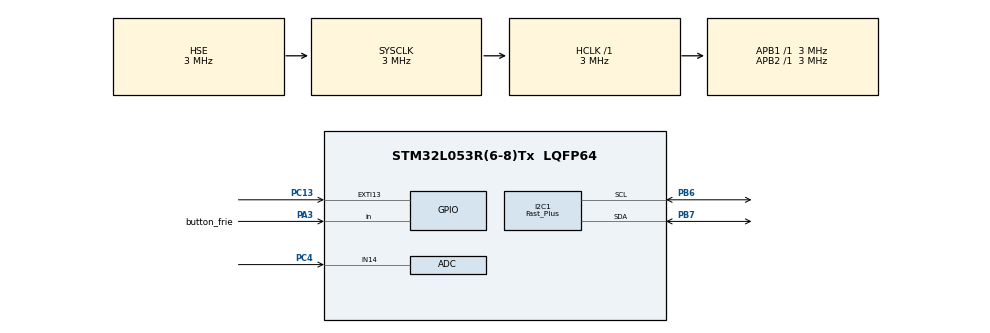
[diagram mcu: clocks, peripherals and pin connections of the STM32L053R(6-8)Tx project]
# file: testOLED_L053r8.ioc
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ADC.ClockPrescaler=ADC_CLOCK_ASYNC_DIV64
ADC.ContinuousConvMode=ENABLE
ADC.DMAContinuousRequests=DISABLE
ADC.SamplingTime=ADC_SAMPLETIME_160CYCLES_5
I2C1.I2C_Speed_Mode=I2C_Fast_Plus
I2C1.Timing=0x00000000
Mcu.Family=STM32L0
Mcu.Name=STM32L053R(6-8)Tx
Mcu.Package=LQFP64
NVIC.ADC1_COMP_IRQn=true\:1\:0\:true\:false\:true\:true\:true\:true
NVIC.EXTI4_15_IRQn=true\:0\:0\:false\:false\:true\:true\:true\:true
PA13.GPIO_Label=TMS
PA13.Mode=Serial_Wire
PA13.Signal=SYS_SWDIO
PA14.GPIO_Label=TCK
PA14.Mode=Serial_Wire
PA14.Signal=SYS_SWCLK
PA2.GPIO_Label=USART_TX
PA2.Signal=USART2_TX
PA3.GPIO_Label=button_frie
PA3.GPIO_PuPd=GPIO_PULLUP
PA3.Signal=GPIO_Input
PB6.Mode=I2C
PB6.Signal=I2C1_SCL
PB7.Mode=I2C
PB7.Signal=I2C1_SDA
PC13.GPIO_ModeDefaultEXTI=GPIO_MODE_IT_FALLING
PC13.Signal=GPXTI13
PC14-OSC32_IN.Signal=RCC_OSC32_IN
PC15-OSC32_OUT.Signal=RCC_OSC32_OUT
PC4.Mode=IN14
PC4.Signal=ADC_IN14
PH0-OSC_IN.Mode=HSE-External-Clock-Source
PH0-OSC_IN.Signal=RCC_OSC_IN
PH1-OSC_OUT.Signal=RCC_OSC_OUT
ProjectManager.HeapSize=0x200
ProjectManager.StackSize=0x400
ProjectManager.TargetToolchain=STM32CubeIDE
RCC.ADCFreq_Value=16000000
RCC.AHBFreq_Value=3000000
RCC.APB1Freq_Value=3000000
RCC.APB1TimFreq_Value=3000000
RCC.APB2Freq_Value=3000000
RCC.APB2TimFreq_Value=3000000
RCC.HCLKFreq_Value=3000000
RCC.HSE_VALUE=3000000
RCC.HSI16_VALUE=16000000
RCC.HSI48_VALUE=48000000
RCC.HSI_VALUE=16000000
RCC.I2c1ClockSelection=RCC_I2C1CLKSOURCE_SYSCLK
RCC.LSE_VALUE=32768
RCC.MSIClockRange=RCC_MSIRANGE_6
RCC.MSI_VALUE=4194000
RCC.SYSCLKFreq_VALUE=3000000
RCC.SYSCLKSource=RCC_SYSCLKSOURCE_HSE
RCC.Usart2ClockSelection=RCC_USART2CLKSOURCE_SYSCLK
RCC.VCOOutputFreq_Value=48000000
board=NUCLEO-L053R8

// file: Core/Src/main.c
/* USER CODE BEGIN Header */
/**
  ******************************************************************************
  * @file           : main.c
  * @brief          : Main program body
  ******************************************************************************
  * @attention
  *
  * Copyright (c) 2023 STMicroelectronics.
  * All rights reserved.
  *
  * This software is licensed under terms that can be found in the LICENSE file
  * in the root directory of this software component.
  * If no LICENSE file comes with this software, it is provided AS-IS.
  *
  ******************************************************************************
  */
/* USER CODE END Header */
#include "main.h"

/* USER CODE BEGIN Includes */
#include "ssd1306.h"
#include "sprite.h"

/* USER CODE END Includes */

/* USER CODE BEGIN PD */
#define ENEMY_SPEED_DIVIDE (uint8_t)10//hệ số chia tốc độ di chuyển của enemy

/* USER CODE END PD */

ADC_HandleTypeDef hadc;

I2C_HandleTypeDef hi2c1;

/* USER CODE BEGIN PV */
volatile uint32_t semaphore = 0;		//kiểm soát luồng cập nhật màn hình
uint8_t enemy_move = 0;					//kiểm soát di chuyển kể địch
volatile uint8_t enemy_move_speed = 0;
volatile uint32_t adc_value = 0;
uint32_t gCounter = 0x00;
/* USER CODE END PV */

void SystemClock_Config(void);
static void MX_GPIO_Init(void);
static void MX_I2C1_Init(void);
static void MX_ADC_Init(void);
/* USER CODE BEGIN PFP */

//void systick_init(uint32_t ticks){
//	__disable_irq();
//	SysTick->CTRL = 0;
//	SysTick->LOAD = ticks - 1;
//	SysTick->VAL = 0;
//	NVIC_SetPriority(SysTick_IRQn,(1<<__NVIC_PRIO_BITS)-1);
//	SysTick->CTRL = 0x07;
//	__enable_irq();
//}

uint32_t MAP(uint32_t au32_IN, uint32_t au32_INmin, uint32_t au32_INmax, uint32_t au32_OUTmin, uint32_t au32_OUTmax){
	return ((((au32_IN - au32_INmin) * (au32_OUTmax - au32_OUTmin)) / (au32_INmax - au32_INmin)) + au32_OUTmin);
} //chuyển đổi giá trị ADC về giới hạn chiều ngang OLED

void HAL_SYSTICK_Callback(void){
	//địch rải tên lửa theo chu kỳ ngắt của systick
    if (!(gCounter % 10))
    {
        Sprite_Enemy_Missle_Launch();
    }
    if (Sprite_GetPlayerMissileLaunchFlag() == 1)
    {
        Sprite_ClearPlayerMissileLaunchFlag();
        Sprite_Player_Missle_Launch();
    }
	//tùy chỉnh cho tốc độ di chuyển kẻ địch
	if (enemy_move_speed == ENEMY_SPEED_DIVIDE) {
		if (enemy_move == 0) {
			enemy_move = 1;
			Sprite_Enemy_Move();
		}
		enemy_move_speed = 0;//reset vòng đếm cho tốc độ di chuyển kẻ địch
	}
		enemy_move_speed++;
		Sprite_Missle_Move();
		Sprite_Player_Move(adc_value);
	  //turn on semaphore
	  semaphore = 1;
	  gCounter++;
}

void HAL_GPIO_EXTI_Callback(uint16_t GPIO_Pin)
{
  /* Prevent unused argument(s) compilation warning */
  UNUSED(GPIO_Pin);
  Sprite_SetPlayerMissileLaunchFlag();
}

void HAL_ADC_ConvCpltCallback(ADC_HandleTypeDef *hadc){
	adc_value = MAP(HAL_ADC_GetValue(hadc), 0, 4095, 0, 112);
}

void initRandomSeed() {
    // Sử dụng thời gian hệ thống làm seed
    // Bạn có thể sử dụng bất kỳ timer nào trên STM32 để lấy thời gian thay thế
    uint32_t seed = HAL_GetTick();  // Lấy giá trị thời gian hệ thống

    // Khởi tạo seed cho generator
    srand(seed);
}
/* USER CODE END PFP */

int main(void)
{

  /* USER CODE BEGIN 1 */
	char winText[]="YOU WIN";
  /* USER CODE END 1 */

  /* MCU Configuration--------------------------------------------------------*/

  /* Reset of all peripherals, Initializes the Flash interface and the Systick. */
  HAL_Init();

  /* Configure the system clock */
  SystemClock_Config();

  /* USER CODE BEGIN SysInit */
  SystemCoreClockUpdate();

  /* USER CODE END SysInit */

  /* Initialize all configured peripherals */
  MX_GPIO_Init();
  MX_I2C1_Init();
  MX_ADC_Init();
  /* USER CODE BEGIN 2 */
  ssd1306_Init();
  Sprite_Init();
  //cấu hình lấy mẫu ADC bằng ngắt
  HAL_ADC_Start_IT(&hadc);
  HAL_SYSTICK_Config(SystemCoreClock/6);// cấu hình lại tần số cho systick

  /* USER CODE END 2 */

  /* Infinite loop */
  /* USER CODE BEGIN WHILE */

  while (1)
  {
	if (semaphore == 1) {
		//vẽ kẻ địch
		if (enemy_move == 1) {
			Sprite_Enemy_Draw();
			enemy_move = 0;
		}
		//vẽ tàu người chơi
		Sprite_Missle_Draw();
		Sprite_Player_Draw();
		//cập nhật màn hình
		ssd1306_UpdateScreen();
		//reset semaphore
		semaphore = 0;
	}
	if(check_WIN_GAME()==1) break;//hết game thì thoát vòng lặp
    /* USER CODE END WHILE */

    /* USER CODE BEGIN 3 */
  }
  ssd1306_Fill(Black);
  ssd1306_SetCursor(24, 24);
  ssd1306_WriteString(winText, Font_11x18, White);
  ssd1306_UpdateScreen();
  /* USER CODE END 3 */
}

void SystemClock_Config(void)
{
  RCC_OscInitTypeDef RCC_OscInitStruct = {0};
  RCC_ClkInitTypeDef RCC_ClkInitStruct = {0};
  RCC_PeriphCLKInitTypeDef PeriphClkInit = {0};

  /** Configure the main internal regulator output voltage
  */
  __HAL_PWR_VOLTAGESCALING_CONFIG(PWR_REGULATOR_VOLTAGE_SCALE1);

  /** Initializes the RCC Oscillators according to the specified parameters
  * in the RCC_OscInitTypeDef structure.
  */
  RCC_OscInitStruct.OscillatorType = RCC_OSCILLATORTYPE_HSI|RCC_OSCILLATORTYPE_HSE;
  RCC_OscInitStruct.HSEState = RCC_HSE_BYPASS;
  RCC_OscInitStruct.HSIState = RCC_HSI_ON;
  RCC_OscInitStruct.HSICalibrationValue = RCC_HSICALIBRATION_DEFAULT;
  RCC_OscInitStruct.PLL.PLLState = RCC_PLL_NONE;
  if (HAL_RCC_OscConfig(&RCC_OscInitStruct) != HAL_OK)
  {
    Error_Handler();
  }

  /** Initializes the CPU, AHB and APB buses clocks
  */
  RCC_ClkInitStruct.ClockType = RCC_CLOCKTYPE_HCLK|RCC_CLOCKTYPE_SYSCLK
                              |RCC_CLOCKTYPE_PCLK1|RCC_CLOCKTYPE_PCLK2;
  RCC_ClkInitStruct.SYSCLKSource = RCC_SYSCLKSOURCE_HSE;
  RCC_ClkInitStruct.AHBCLKDivider = RCC_SYSCLK_DIV1;
  RCC_ClkInitStruct.APB1CLKDivider = RCC_HCLK_DIV1;
  RCC_ClkInitStruct.APB2CLKDivider = RCC_HCLK_DIV1;

  if (HAL_RCC_ClockConfig(&RCC_ClkInitStruct, FLASH_LATENCY_0) != HAL_OK)
  {
    Error_Handler();
  }
  PeriphClkInit.PeriphClockSelection = RCC_PERIPHCLK_I2C1;
  PeriphClkInit.I2c1ClockSelection = RCC_I2C1CLKSOURCE_SYSCLK;
  if (HAL_RCCEx_PeriphCLKConfig(&PeriphClkInit) != HAL_OK)
  {
    Error_Handler();
  }
}

static void MX_ADC_Init(void)
{

  ADC_ChannelConfTypeDef sConfig = {0};

  /** Configure the global features of the ADC (Clock, Resolution, Data Alignment and number of conversion)
  */
  hadc.Instance = ADC1;
  hadc.Init.OversamplingMode = DISABLE;
  hadc.Init.ClockPrescaler = ADC_CLOCK_ASYNC_DIV64;
  hadc.Init.Resolution = ADC_RESOLUTION_12B;
  hadc.Init.SamplingTime = ADC_SAMPLETIME_160CYCLES_5;
  hadc.Init.ScanConvMode = ADC_SCAN_DIRECTION_FORWARD;
  hadc.Init.DataAlign = ADC_DATAALIGN_RIGHT;
  hadc.Init.ContinuousConvMode = ENABLE;
  hadc.Init.DiscontinuousConvMode = DISABLE;
  hadc.Init.ExternalTrigConvEdge = ADC_EXTERNALTRIGCONVEDGE_NONE;
  hadc.Init.ExternalTrigConv = ADC_SOFTWARE_START;
  hadc.Init.DMAContinuousRequests = DISABLE;
  hadc.Init.EOCSelection = ADC_EOC_SINGLE_CONV;
  hadc.Init.Overrun = ADC_OVR_DATA_PRESERVED;
  hadc.Init.LowPowerAutoWait = DISABLE;
  hadc.Init.LowPowerFrequencyMode = ENABLE;
  hadc.Init.LowPowerAutoPowerOff = DISABLE;
  if (HAL_ADC_Init(&hadc) != HAL_OK)
  {
    Error_Handler();
  }

  /** Configure for the selected ADC regular channel to be converted.
  */
  sConfig.Channel = ADC_CHANNEL_14;
  sConfig.Rank = ADC_RANK_CHANNEL_NUMBER;
  if (HAL_ADC_ConfigChannel(&hadc, &sConfig) != HAL_OK)
  {
    Error_Handler();
  }

}

static void MX_I2C1_Init(void)
{

  hi2c1.Instance = I2C1;
  hi2c1.Init.Timing = 0x00000000;
  hi2c1.Init.OwnAddress1 = 0;
  hi2c1.Init.AddressingMode = I2C_ADDRESSINGMODE_7BIT;
  hi2c1.Init.DualAddressMode = I2C_DUALADDRESS_DISABLE;
  hi2c1.Init.OwnAddress2 = 0;
  hi2c1.Init.OwnAddress2Masks = I2C_OA2_NOMASK;
  hi2c1.Init.GeneralCallMode = I2C_GENERALCALL_DISABLE;
  hi2c1.Init.NoStretchMode = I2C_NOSTRETCH_DISABLE;
  if (HAL_I2C_Init(&hi2c1) != HAL_OK)
  {
    Error_Handler();
  }

  /** Configure Analogue filter
  */
  if (HAL_I2CEx_ConfigAnalogFilter(&hi2c1, I2C_ANALOGFILTER_ENABLE) != HAL_OK)
  {
    Error_Handler();
  }

  /** Configure Digital filter
  */
  if (HAL_I2CEx_ConfigDigitalFilter(&hi2c1, 0) != HAL_OK)
  {
    Error_Handler();
  }

  /** I2C Fast mode Plus enable
  */
  HAL_I2CEx_EnableFastModePlus(I2C_FASTMODEPLUS_I2C1);

}

static void MX_GPIO_Init(void)
{
  GPIO_InitTypeDef GPIO_InitStruct = {0};

  /* GPIO Ports Clock Enable */
  __HAL_RCC_GPIOC_CLK_ENABLE();
  __HAL_RCC_GPIOH_CLK_ENABLE();
  __HAL_RCC_GPIOA_CLK_ENABLE();
  __HAL_RCC_GPIOB_CLK_ENABLE();

  /*Configure GPIO pin : PC13 */
  GPIO_InitStruct.Pin = GPIO_PIN_13;
  GPIO_InitStruct.Mode = GPIO_MODE_IT_FALLING;
  GPIO_InitStruct.Pull = GPIO_NOPULL;
  HAL_GPIO_Init(GPIOC, &GPIO_InitStruct);

  /*Configure GPIO pin : USART_TX_Pin */
  GPIO_InitStruct.Pin = USART_TX_Pin;
  GPIO_InitStruct.Mode = GPIO_MODE_AF_PP;
  GPIO_InitStruct.Pull = GPIO_NOPULL;
  GPIO_InitStruct.Speed = GPIO_SPEED_FREQ_VERY_HIGH;
  GPIO_InitStruct.Alternate = GPIO_AF4_USART2;
  HAL_GPIO_Init(USART_TX_GPIO_Port, &GPIO_InitStruct);

  /*Configure GPIO pin : button_frie_Pin */
  GPIO_InitStruct.Pin = button_frie_Pin;
  GPIO_InitStruct.Mode = GPIO_MODE_INPUT;
  GPIO_InitStruct.Pull = GPIO_PULLUP;
  HAL_GPIO_Init(button_frie_GPIO_Port, &GPIO_InitStruct);

  /* EXTI interrupt init*/
  HAL_NVIC_SetPriority(EXTI4_15_IRQn, 0, 0);
  HAL_NVIC_EnableIRQ(EXTI4_15_IRQn);

}

void Error_Handler(void)
{
  __disable_irq();
  while (1)
  {
  }
}
